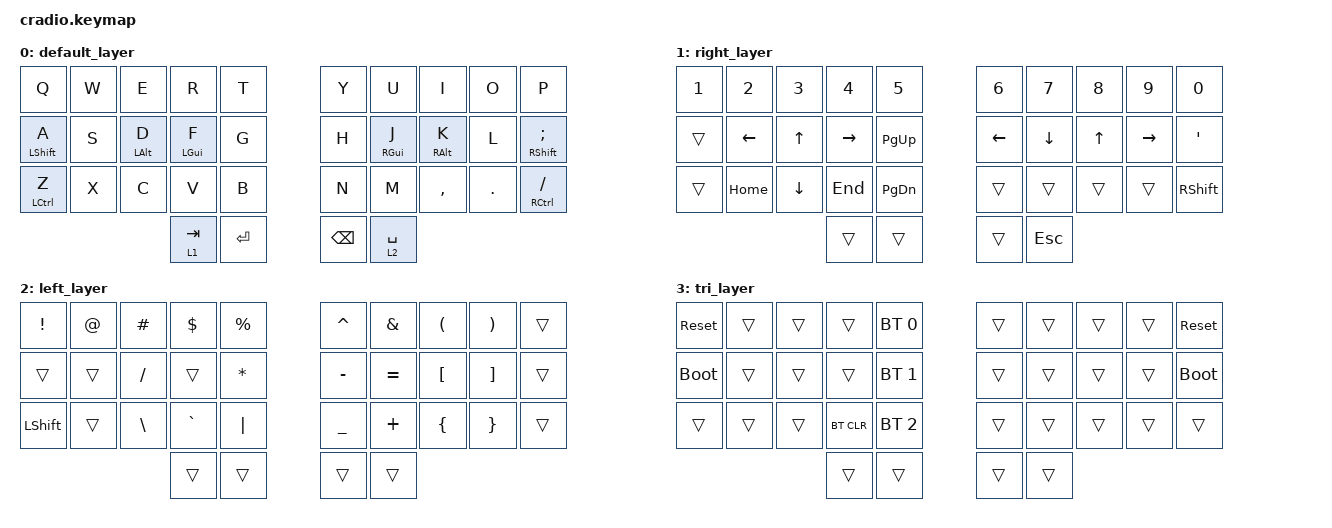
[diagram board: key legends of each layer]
// Copyright (c) 2022 The ZMK Contributors
// SPDX-License-Identifier: MIT

#include <behaviors.dtsi>
#include <dt-bindings/zmk/bt.h>
#include <dt-bindings/zmk/keys.h>

/ {
    behaviors {
        ht: hold_tap {
            compatible = "zmk,behavior-hold-tap";
            #binding-cells = <2>;
            flavor = "tap-preferred";
            tapping-term-ms = <200>;
            quick-tap-ms = <150>;
            require-prior-idle-ms = <150>;
            bindings = <&kp>, <&kp>;
        };
    };

    conditional_layers {
        compatible = "zmk,conditional-layers";

        tri_layer {
            if-layers = <1 2>;
            then-layer = <3>;
        };
    };

    keymap {
        compatible = "zmk,keymap";

        default_layer {
            bindings = <
&kp Q             &kp W  &kp E           &kp R           &kp T        &kp Y          &kp U            &kp I            &kp O    &kp P
&ht LEFT_SHIFT A  &kp S  &ht LEFT_ALT D  &ht LEFT_GUI F  &kp G        &kp H          &ht RIGHT_GUI J  &ht RIGHT_ALT K  &kp L    &ht RIGHT_SHIFT SEMICOLON
&ht LCTRL Z       &kp X  &kp C           &kp V           &kp B        &kp N          &kp M            &kp COMMA        &kp DOT  &ht RCTRL SLASH
                                         &lt 1 TAB       &kp ENTER    &kp BACKSPACE  &lt 2 SPACE
            >;
        };

        right_layer {
            bindings = <
&kp NUMBER_1  &kp NUMBER_2  &kp NUMBER_3  &kp NUMBER_4  &kp N5           &kp NUMBER_6  &kp N7      &kp N8  &kp N9     &kp N0
&trans        &kp LEFT      &kp UP_ARROW  &kp RIGHT     &kp PAGE_UP      &kp LEFT      &kp DOWN    &kp UP  &kp RIGHT  &kp SINGLE_QUOTE
&trans        &kp HOME      &kp DOWN      &kp END       &kp PAGE_DOWN    &trans        &trans      &trans  &trans     &kp RIGHT_SHIFT
                                          &trans        &trans           &trans        &kp ESCAPE
            >;
        };

        left_layer {
            bindings = <
&kp EXCL        &kp AT  &kp POUND      &kp DOLLAR  &kp PERCENT    &kp CARET       &kp AMPERSAND  &kp LPAR          &kp RPAR           &trans
&trans          &trans  &kp SLASH      &trans      &kp ASTRK      &kp MINUS       &kp EQUAL      &kp LEFT_BRACKET  &kp RIGHT_BRACKET  &trans
&kp LEFT_SHIFT  &trans  &kp BACKSLASH  &kp GRAVE   &kp PIPE       &kp UNDERSCORE  &kp PLUS       &kp LEFT_BRACE    &kp RIGHT_BRACE    &trans
                                       &trans      &trans         &trans          &trans
            >;
        };

        tri_layer {
            bindings = <
&sys_reset   &trans  &trans  &trans      &bt BT_SEL 0    &trans  &trans  &trans  &trans  &sys_reset
&bootloader  &trans  &trans  &trans      &bt BT_SEL 1    &trans  &trans  &trans  &trans  &bootloader
&trans       &trans  &trans  &bt BT_CLR  &bt BT_SEL 2    &trans  &trans  &trans  &trans  &trans
                             &trans      &trans          &trans  &trans
            >;
        };
    };
};
